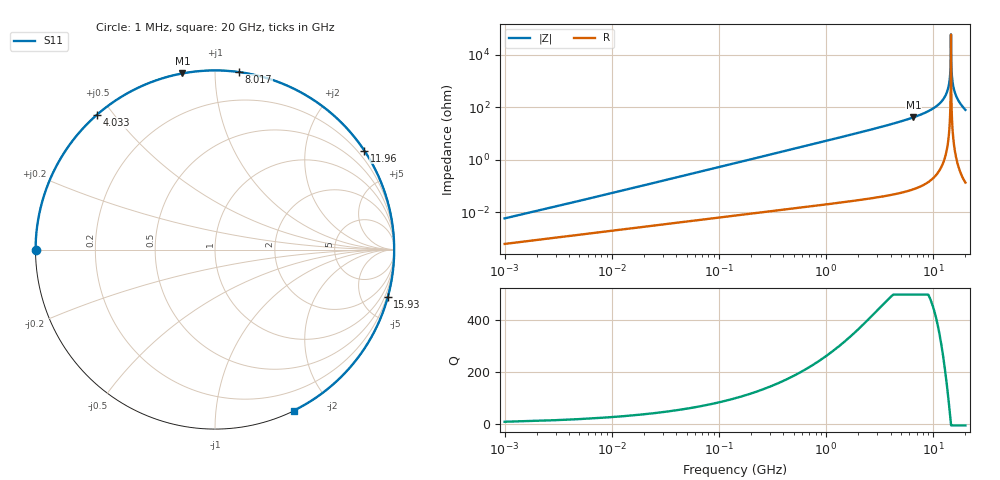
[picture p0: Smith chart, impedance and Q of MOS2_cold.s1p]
# GHz S RI R 50
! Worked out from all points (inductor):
!   10001 points, 1 MHz to 20 GHz, reference 50 ohm
!   read as one part to ground: L = 845 pH near 101 MHz
!   highest Q = 547 at 6.545 GHz (marker M1), where L = 1.01 nH
!   self-resonance near 14.67 GHz
!   S11 on the Smith chart (normalised r, x): 1 MHz: 0.00, +0.00; 4.033 GHz: 0.00, +0.45; 8.017 GHz: 0.00, +1.14; 11.96 GHz: 0.01, +3.32; 15.93 GHz: 0.05, -7.44; 20 GHz: 0.00, -1.60
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0.001  -1 0.000236
0.621  -0.9908 0.1308
1.239  -0.9652 0.2583
1.865  -0.9226 0.383
2.501  -0.8629 0.503
3.251  -0.7725 0.6328
4.033  -0.6574 0.7515
5.001  -0.4899 0.8699
5.781  -0.3389 0.939
6.545  -0.1815 0.9816
7.501  0.0225 0.9979
8.017  0.133 0.9892
8.997  0.3377 0.9392
10.001  0.5322 0.8444
10.945  0.6926 0.7188
11.957  0.8322 0.5511
12.501  0.8912 0.4497
13.135  0.9442 0.3239
13.759  0.9791 0.1945
14.379  0.9963 0.0629
15.001  0.9959 -0.0699
15.927  0.9629 -0.2637
16.701  0.907 -0.4172
17.501  0.8243 -0.5634
18.143  0.7414 -0.6687
18.817  0.6406 -0.7659
19.467  0.532 -0.8449
20.001  0.4359 -0.8983
